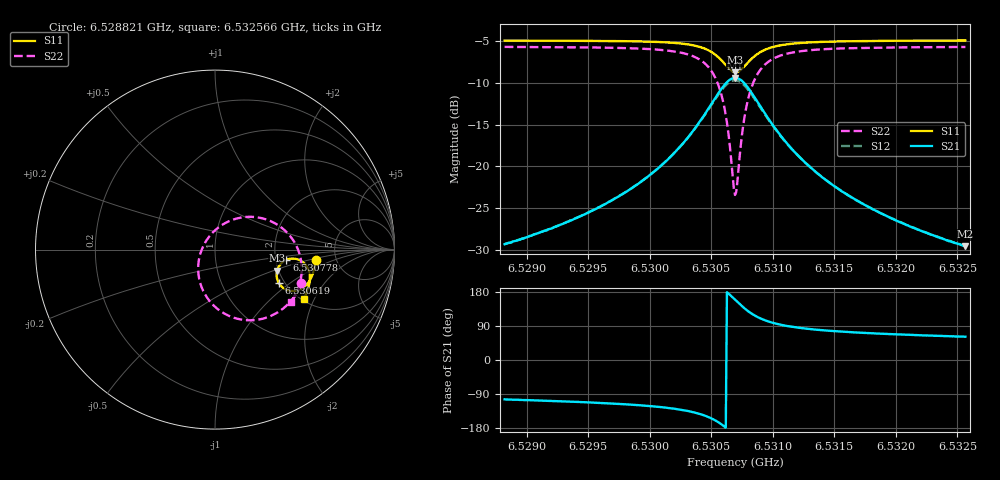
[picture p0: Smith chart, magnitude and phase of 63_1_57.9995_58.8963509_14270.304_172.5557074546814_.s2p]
#  HZ  S  RI  R  50.00
! Rohde & Schwarz Vector Network Analyzer
! Rohde-Schwarz,ZNB20-2Port,1311601062101988,3.16
! Created: UTC 3/21/2024, 12:53:04 AM
! freq[Hz]  re:S11  im:S11  re:S21  im:S21  re:S12  im:S12  re:S22  im:S22
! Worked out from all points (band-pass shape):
!   401 points, 6.528821 GHz to 6.532566 GHz, reference 50 ohm
!   highest |S21| = -9.42 dB at 6.530693 GHz (marker M1); lowest = -29.5 dB at 6.532566 GHz (marker M2)
!   |S21| within 3 dB of the highest: 6.530507 GHz to 6.530882 GHz (374.5 kHz wide, 0.00573 % of centre)
!   lowest |S11| = -8.8 dB at 6.530693 GHz (marker M3), VSWR 2.15, Z = 98.1 - j26.5 ohm
!   |S11| at or under -10 dB: nowhere
!   |S22| runs from -23.4 to -5.7 dB; largest |S21 - S12| = 0.014
!   S11 on the Smith chart (normalised r, x): 6.528821 GHz: 3.48, -0.59; 6.530619 GHz: 1.86, -0.83; 6.530778 GHz: 2.29, -0.31; 6.532566 GHz: 2.05, -1.66
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6.5288212e9  0.5607 -0.0577  -0.00814 -0.0333  -0.00891 -0.0331  0.4817 -0.1887
6.5294484e9  0.5512 -0.1119  -0.0184 -0.0474  -0.0196 -0.047  0.4491 -0.2504
6.5297854e9  0.5408 -0.1448  -0.0308 -0.0616  -0.0325 -0.0607  0.4165 -0.2935
6.5300756e9  0.5236 -0.1789  -0.0548 -0.0819  -0.0573 -0.0802  0.3618 -0.3415
6.5303002e9  0.4937 -0.2109  -0.1011 -0.1047  -0.1043 -0.1011  0.2686 -0.3846
6.5304594e9  0.4449 -0.2302  -0.1792 -0.1112  -0.1818 -0.1032  0.1253 -0.3852
6.530553e9  0.3943 -0.2215  -0.2582 -0.0781  -0.2566 -0.0665  -0.00529 -0.3134
6.5305904e9  0.3716 -0.2059  -0.2922 -0.0439  -0.2872 -0.032  -0.0558 -0.2488
6.5306185e9  0.3565 -0.1875  -0.3131 -0.00782  -0.3051 0.00365  -0.083 -0.1842
6.5306466e9  0.3462 -0.1636  -0.3253 0.037  -0.3145 0.0464  -0.0939 -0.1076
6.5306747e9  0.3432 -0.1359  -0.3246 0.0868  -0.3122 0.0932  -0.0829 -0.026
6.5306934e9  0.3459 -0.1171  -0.3159 0.1199  -0.3027 0.124  -0.0621 0.0264
6.5307121e9  0.3528 -0.0993  -0.3008 0.1508  -0.2878 0.1525  -0.0314 0.0738
6.5307496e9  0.3759 -0.0706  -0.2561 0.1992  -0.245 0.1971  0.0511 0.1445
6.5307776e9  0.3977 -0.0573  -0.2162 0.221  -0.2074 0.2173  0.1207 0.1732
6.5308432e9  0.4468 -0.051  -0.1299 0.231  -0.1256 0.2269  0.2663 0.1736
6.5309368e9  0.4921 -0.0715  -0.0529 0.1998  -0.0511 0.1975  0.3919 0.1043
6.5310772e9  0.5197 -0.1089  -0.00567 0.1484  -0.00448 0.1475  0.4628 -0.000241
6.5313206e9  0.5288 -0.1556  0.0151 0.0956  0.0161 0.0952  0.4832 -0.1105
6.5316201e9  0.5244 -0.194  0.0186 0.064  0.0196 0.0639  0.474 -0.183
6.5319478e9  0.5152 -0.2262  0.0182 0.0461  0.019 0.0459  0.4578 -0.2321
6.5325656e9  0.4936 -0.2755  0.016 0.0293  0.0165 0.0291  0.426 -0.2927
